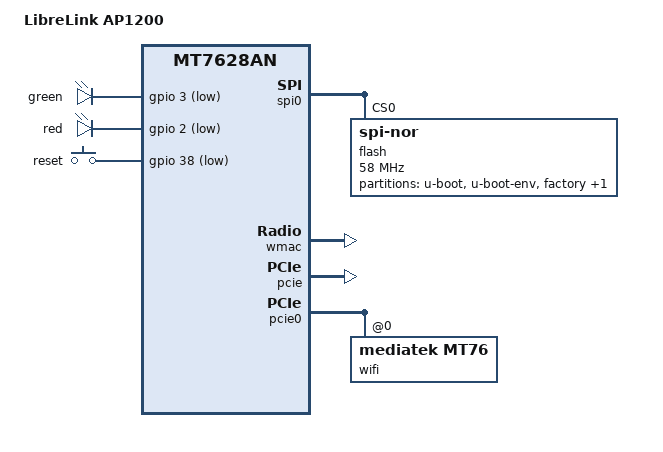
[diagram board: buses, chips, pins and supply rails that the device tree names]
// SPDX-License-Identifier: GPL-2.0-or-later OR MIT

#include "mt7628an.dtsi"

#include <dt-bindings/gpio/gpio.h>
#include <dt-bindings/input/input.h>

/ {
	compatible = "librelink,ap1200", "mediatek,mt7628an-soc";
	model = "LibreLink AP1200";

	aliases {
		label-mac-device = &ethernet;
		led-boot = &status_green;
		led-failsafe = &status_red;
		led-running = &status_green;
		led-upgrade = &status_red;
	};

	chosen {
		bootargs = "console=ttyS0,57600";
	};

	gpio-leds {
		compatible = "gpio-leds";

		status_green: status_green {
			label = "green";
			gpios = <&gpio 3 GPIO_ACTIVE_LOW>;
			default-state = "on";
			linux,default-trigger = "timer";
		};

		status_red: status_red {
			label = "red";
			gpios = <&gpio 2 GPIO_ACTIVE_LOW>;
			default-state = "on";
			linux,default-trigger = "timer";
		};
	};

	gpio-keys {
		compatible = "gpio-keys";

		reset {
			label = "reset";
			gpios = <&gpio 38 GPIO_ACTIVE_LOW>;
			linux,code = <KEY_RESTART>;
		};
	};
};

&spi0 {
	status = "okay";

	flash@0 {
		compatible = "jedec,spi-nor";
		reg = <0>;
		spi-max-frequency = <58000000>;
		m25p,fast-read;

		partitions {
			compatible = "fixed-partitions";
			#address-cells = <1>;
			#size-cells = <1>;

			partition@0 {
				label = "u-boot";
				reg = <0x0 0x30000>;
				read-only;
			};

			partition@30000 {
				label = "u-boot-env";
				reg = <0x30000 0x10000>;
				read-only;
			};

			partition@40000 {
				label = "factory";
				reg = <0x40000 0x10000>;
				read-only;

				nvmem-layout {
					compatible = "fixed-layout";
					#address-cells = <1>;
					#size-cells = <1>;

					eeprom_factory_0: eeprom@0 {
						reg = <0x0 0x400>;
					};

					eeprom_factory_8000: eeprom@8000 {
						reg = <0x8000 0x4da8>;
					};

					macaddr_factory_4: macaddr@4 {
						reg = <0x4 0x6>;
					};
				};
			};

			partition@50000 {
				compatible = "denx,uimage";
				label = "firmware";
				reg = <0x50000 0xfb0000>;
			};
		};
	};
};

&state_default {
	spis {
		groups = "spis";
		function = "spis";
	};

	gpio {
		groups = "refclk", "i2c", "wled_an", "i2s";
		function = "gpio";
	};
};

&ethernet {
	nvmem-cells = <&macaddr_factory_4>;
	nvmem-cell-names = "mac-address";
};

&esw {
	mediatek,portmap = <0x37>;
	mediatek,portdisable = <0x30>;
};

&wmac {
	status = "okay";

	nvmem-cells = <&eeprom_factory_0>;
	nvmem-cell-names = "eeprom";
};

&pcie {
	status = "okay";
};

&pcie0 {
	wifi@0,0 {
		compatible = "mediatek,mt76";
		reg = <0x0000 0 0 0 0>;
		nvmem-cells = <&eeprom_factory_8000>;
		nvmem-cell-names = "eeprom";
		ieee80211-freq-limit = <5000000 6000000>;

		led {
			led-sources = <2>;
			led-active-low;
		};
	};
};

&usbphy {
	status = "disabled";
};

&ehci {
	status = "disabled";
};

&ohci {
	status = "disabled";
};
